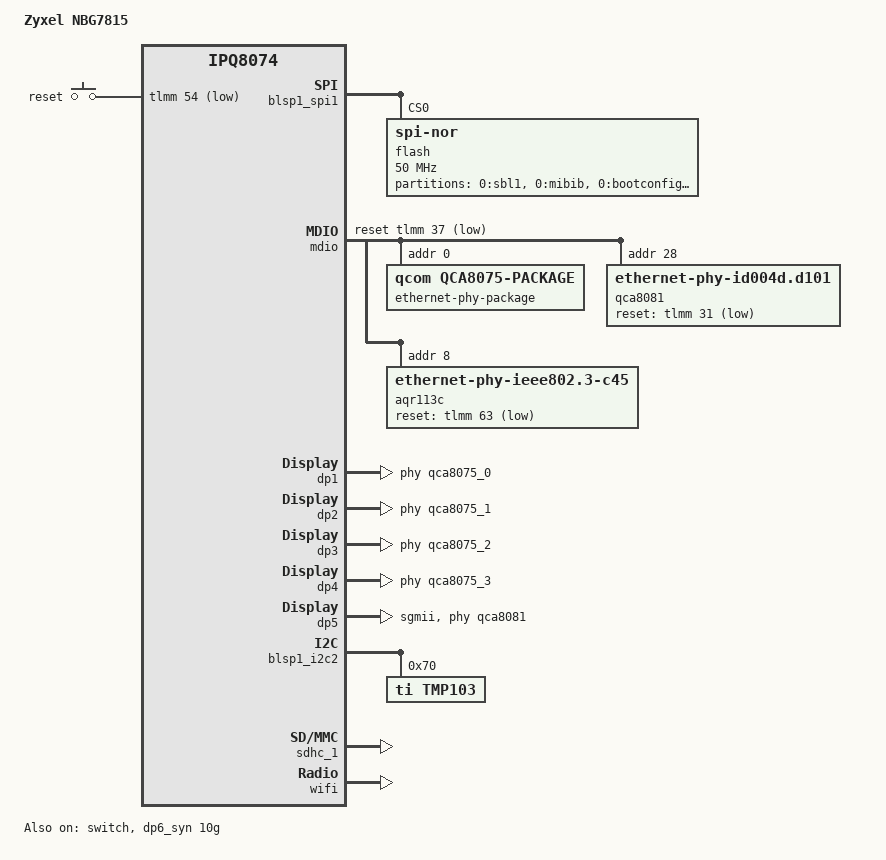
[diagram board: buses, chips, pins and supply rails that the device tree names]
// SPDX-License-Identifier: GPL-2.0-or-later OR MIT

/dts-v1/;

#include "ipq8074.dtsi"
#include "ipq8074-ess.dtsi"
#include "ipq8074-nss.dtsi"
#include "ipq8074-common.dtsi"
#include "ipq8074-hk-cpu.dtsi"

#include <dt-bindings/gpio/gpio.h>
#include <dt-bindings/leds/common.h>
#include <dt-bindings/input/input.h>

/ {
	model = "Zyxel NBG7815";
	compatible = "zyxel,nbg7815", "qcom,ipq8074";

	aliases {
		serial0 = &blsp1_uart5;
		serial1 = &blsp1_uart3;

		ethernet0 = &dp1;

		label-mac-device = &dp1;
	};

	chosen {
		stdout-path = "serial0:115200n8";
	};

	keys {
		compatible = "gpio-keys";

		reset {
			label = "reset";
			linux,code = <KEY_RESTART>;
			gpios = <&tlmm 54 GPIO_ACTIVE_LOW>;
		};
	};
};

&blsp1_spi1 {
	status = "okay";

	flash@0 {
		compatible = "jedec,spi-nor";
		spi-max-frequency = <50000000>;
		reg = <0>;

		partitions {
			compatible = "fixed-partitions";
			#address-cells = <1>;
			#size-cells = <1>;

			partition@0 {
				label = "0:sbl1";
				reg = <0x00000000 0x00050000>;
				read-only;
			};

			partition@50000 {
				label = "0:mibib";
				reg = <0x00050000 0x00010000>;
				read-only;
			};

			partition@60000 {
				label = "0:bootconfig";
				reg = <0x00060000 0x00020000>;
				read-only;
			};

			partition@80000 {
				label = "0:bootconfig1";
				reg = <0x00080000 0x00020000>;
				read-only;
			};

			partition@a0000 {
				label = "0:qsee";
				reg = <0x000a0000 0x00180000>;
				read-only;
			};

			partition@220000 {
				label = "0:qsee_1";
				reg = <0x00220000 0x00180000>;
				read-only;
			};

			partition@3a0000 {
				label = "0:devcfg";
				reg = <0x003a0000 0x00010000>;
				read-only;
			};

			partition@3b0000 {
				label = "0:devcfg_1";
				reg = <0x003b0000 0x00010000>;
				read-only;
			};

			partition@3c0000 {
				label = "0:apdp";
				reg = <0x003c0000 0x00010000>;
				read-only;
			};

			partition@3d0000 {
				label = "0:apdp_1";
				reg = <0x003d0000 0x00010000>;
				read-only;
			};

			partition@3e0000 {
				label = "0:rpm";
				reg = <0x003e0000 0x00040000>;
				read-only;
			};

			partition@420000 {
				label = "0:rpm_1";
				reg = <0x00420000 0x00040000>;
				read-only;
			};

			partition@460000 {
				label = "0:cdt";
				reg = <0x00460000 0x00010000>;
				read-only;
			};

			partition@470000 {
				label = "0:cdt_1";
				reg = <0x00470000 0x00010000>;
				read-only;
			};

			partition@480000 {
				label = "0:appsbl";
				reg = <0x00480000 0x000c0000>;
				read-only;
			};

			partition@540000 {
				label = "0:appsbl_1";
				reg = <0x00540000 0x000c0000>;
				read-only;
			};

			partition@600000 {
				label = "0:appsblenv";
				reg = <0x00600000 0x00010000>;

				nvmem-layout {
					compatible = "u-boot,env";
					#address-cells = <1>;
					#size-cells = <1>;

					macaddr_lan: ethaddr {
						compatible = "mac-base";
						#nvmem-cell-cells = <1>;
					};
				};
			};

			partition@610000 {
				label = "0:art";
				reg = <0x00610000 0x00040000>;
				read-only;
			};

			partition@650000 {
				label = "0:ethphyfw";
				reg = <0x00650000 0x00080000>;
				read-only;

				nvmem-layout {
					compatible = "fixed-layout";
					#address-cells = <1>;
					#size-cells = <1>;

					aqr_fw: aqr-fw@0 {
						/* Skip the QCOM MBN Header of 40 bytes */
						reg = <0x00028 0x5f402>;
					};
				};
			};

			partition@6d0000 {
				label = "0:crt";
				reg = <0x006d0000 0x00010000>;
				read-only;
			};

			partition@6e0000 {
				label = "dual_flag";
				reg = <0x006e0000 0x00010000>;
			};

			partition@6f0000 {
				label = "reserved";
				reg = <0x006f0000 0x00110000>;
				read-only;
			};
		};
	};
};

&mdio {
	status = "okay";

	pinctrl-0 = <&mdio_pins>;
	pinctrl-names = "default";
	reset-gpios = <&tlmm 37 GPIO_ACTIVE_LOW>;

	ethernet-phy-package@0 {
		compatible = "qcom,qca8075-package";
		#address-cells = <1>;
		#size-cells = <0>;
		reg = <0>;

		qcom,package-mode = "qsgmii";

		qca8075_0: ethernet-phy@0 {
			compatible = "ethernet-phy-ieee802.3-c22";
			reg = <0>;
		};

		qca8075_1: ethernet-phy@1 {
			compatible = "ethernet-phy-ieee802.3-c22";
			reg = <1>;
		};

		qca8075_2: ethernet-phy@2 {
			compatible = "ethernet-phy-ieee802.3-c22";
			reg = <2>;
		};

		qca8075_3: ethernet-phy@3 {
			compatible = "ethernet-phy-ieee802.3-c22";
			reg = <3>;
		};
	};

	qca8081: ethernet-phy@28 {
		compatible = "ethernet-phy-id004d.d101";
		reg = <28>;
		reset-deassert-us = <10000>;
		reset-gpios = <&tlmm 31 GPIO_ACTIVE_LOW>;
	};

	aqr113c: ethernet-phy@5 {
		compatible = "ethernet-phy-ieee802.3-c45";
		reg = <8>;
		reset-gpios = <&tlmm 63 GPIO_ACTIVE_LOW>;
		nvmem-cells = <&aqr_fw>;
		nvmem-cell-names = "firmware";
	};
};

&switch {
	status = "okay";

	switch_lan_bmp = <(ESS_PORT1 | ESS_PORT2 | ESS_PORT3 | ESS_PORT4 | ESS_PORT6)>;
	switch_wan_bmp = <ESS_PORT5>;
	switch_mac_mode = <MAC_MODE_QSGMII>;
	switch_mac_mode1 = <MAC_MODE_SGMII_PLUS>;
	switch_mac_mode2 = <MAC_MODE_USXGMII>;

	qcom,port_phyinfo {
		port@1 {
			port_id = <1>;
			phy_address = <0>;
		};

		port@2 {
			port_id = <2>;
			phy_address = <1>;
		};

		port@3 {
			port_id = <3>;
			phy_address = <2>;
		};

		port@4 {
			port_id = <4>;
			phy_address = <3>;
		};

		port@5 {
			port_id = <5>;
			phy_address = <28>;
			port_mac_sel = "QGMAC_PORT";
		};

		port@6 {
			port_id = <6>;
			ethernet-phy-ieee802.3-c45;
			phy_address = <8>;
		};
	};
};

&edma {
	status = "okay";
};

&dp1 {
	status = "okay";
	phy-handle = <&qca8075_0>;
	label = "lan1";
	nvmem-cells = <&macaddr_lan 0>;
	nvmem-cell-names = "mac-address";
};

&dp2 {
	status = "okay";
	phy-handle = <&qca8075_1>;
	label = "lan2";
	nvmem-cells = <&macaddr_lan 0>;
	nvmem-cell-names = "mac-address";
};

&dp3 {
	status = "okay";
	phy-handle = <&qca8075_2>;
	label = "lan3";
	nvmem-cells = <&macaddr_lan 0>;
	nvmem-cell-names = "mac-address";
};

&dp4 {
	status = "okay";
	phy-handle = <&qca8075_3>;
	label = "lan4";
	nvmem-cells = <&macaddr_lan 0>;
	nvmem-cell-names = "mac-address";
};

&dp5 {
	status = "okay";
	phy-mode = "sgmii";
	phy-handle = <&qca8081>;
	label = "wan";
	nvmem-cells = <&macaddr_lan 1>;
	nvmem-cell-names = "mac-address";
};

&dp6_syn {
	status = "okay";
	phy-mode = "usxgmii";
	phy-handle = <&aqr113c>;
	label = "10g";
	nvmem-cells = <&macaddr_lan 0>;
	nvmem-cell-names = "mac-address";
};

&blsp1_i2c2 {
	status = "okay";

	tmp103@70 {
		compatible = "ti,tmp103";
		reg = <0x70>;
	};
};

&sdhc_1 {
	status = "okay";

	/delete-property/ mmc-hs400-1_8v;
	mmc-hs200-1_8v;
	mmc-ddr-1_8v;
	vqmmc-supply = <&l11>;
};

&wifi {
	status = "okay";
	qcom,ath11k-fw-memory-mode = <1>;
	qcom,ath11k-calibration-variant = "Zyxel-NBG7815";
};
